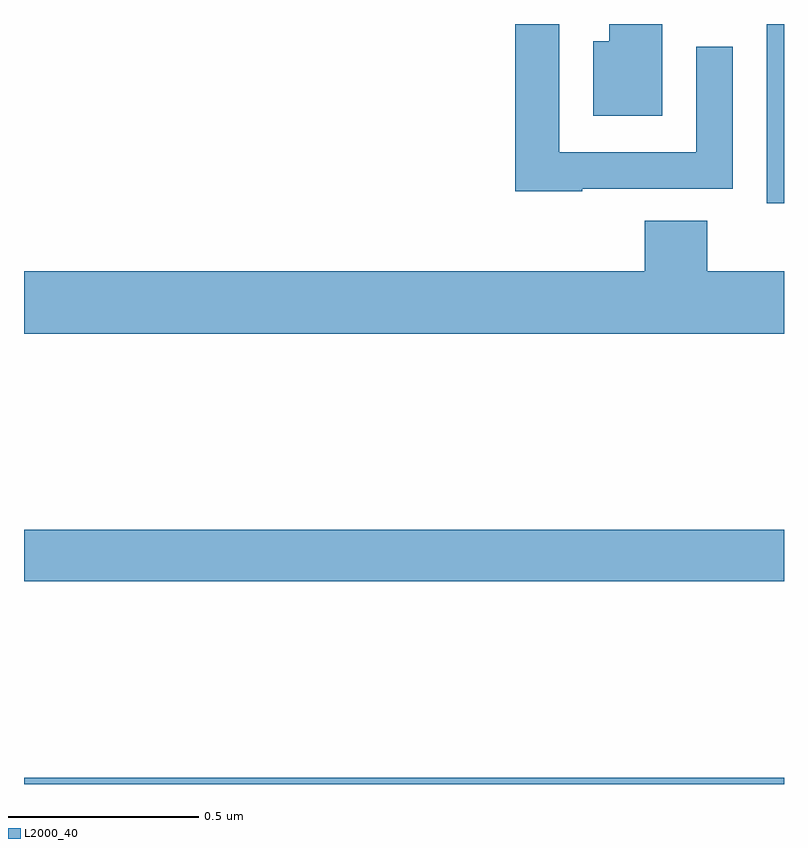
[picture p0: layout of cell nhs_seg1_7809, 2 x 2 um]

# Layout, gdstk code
import gdstk
lib = gdstk.Library(unit=1e-6, precision=1e-09)
def R(c, l, rs):  # rectangles x0, y0, x1, y1
    for r in rs: c.add(gdstk.rectangle(r[:2], r[2:], *l))
def P(c, l, *ps):  # polygons
    for p in ps: c.add(gdstk.Polygon(p, *l))
L2000_40 = (2000, 40)

nhs_seg1_7809 = lib.new_cell('nhs_seg1_7809')
R(nhs_seg1_7809, L2000_40, [(208,565.199,210,565.216), (208,565.732,210,565.868), (209.955,566.727,210,567.199)])
P(nhs_seg1_7809, L2000_40, [(209.68,567.199),(209.54,567.199),(209.54,567.154),(209.498,567.154),(209.498,566.957),(209.68,566.957)],
  [(209.469,566.766),(209.865,566.766),(209.865,567.139),(209.769,567.139),(209.769,566.862),(209.409,566.862),(209.409,567.199),(209.293,567.199),(209.293,566.759),(209.469,566.759)],
  [(210,566.548),(209.798,566.548),(209.798,566.681),(209.633,566.681),(209.633,566.548),(208,566.548),(208,566.384),(210,566.384)])

lib.write_gds('nhs_seg1_7809.gds')
